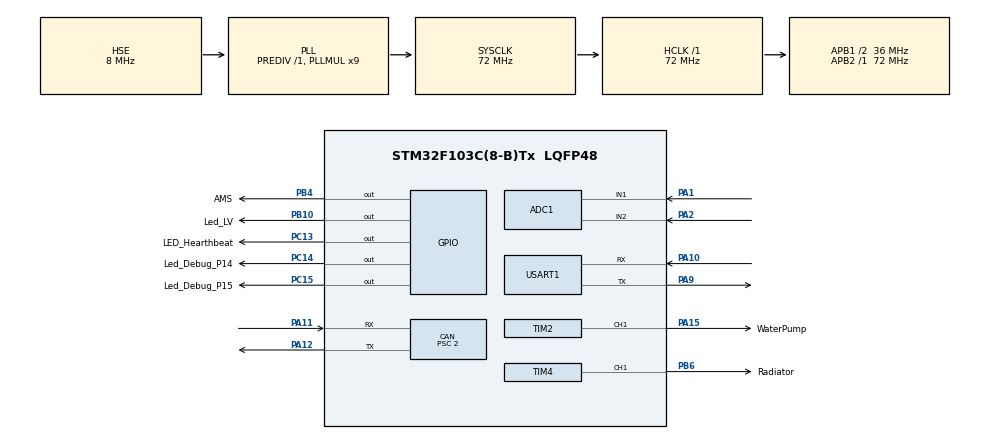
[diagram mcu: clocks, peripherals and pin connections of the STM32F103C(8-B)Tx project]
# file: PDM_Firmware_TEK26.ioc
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ADC1.Channel-0\#ChannelRegularConversion=ADC_CHANNEL_1
ADC1.Channel-1\#ChannelRegularConversion=ADC_CHANNEL_2
ADC1.NbrOfConversion=2
ADC1.NbrOfConversionFlag=1
ADC1.Rank-0\#ChannelRegularConversion=1
ADC1.Rank-1\#ChannelRegularConversion=2
ADC1.SamplingTime-0\#ChannelRegularConversion=ADC_SAMPLETIME_239CYCLES_5
ADC1.SamplingTime-1\#ChannelRegularConversion=ADC_SAMPLETIME_239CYCLES_5
ADC1.master=1
CAN.BS1=CAN_BS1_16TQ
CAN.CalculateBaudRate=1000000
CAN.CalculateTimeBit=1000
CAN.CalculateTimeQuantum=55.55555555555556
CAN.NART=ENABLE
CAN.Prescaler=2
Dma.ADC1.0.Direction=DMA_PERIPH_TO_MEMORY
Dma.ADC1.0.Instance=DMA1_Channel1
Dma.ADC1.0.MemDataAlignment=DMA_MDATAALIGN_HALFWORD
Dma.ADC1.0.MemInc=DMA_MINC_ENABLE
Dma.ADC1.0.Mode=DMA_NORMAL
Dma.ADC1.0.PeriphDataAlignment=DMA_PDATAALIGN_HALFWORD
Dma.ADC1.0.PeriphInc=DMA_PINC_DISABLE
Dma.ADC1.0.Priority=DMA_PRIORITY_LOW
Dma.Request0=ADC1
Mcu.Family=STM32F1
Mcu.Name=STM32F103C(8-B)Tx
Mcu.Package=LQFP48
NVIC.ADC1_2_IRQn=true\:0\:0\:false\:false\:true\:true\:true\:true
NVIC.CAN1_RX1_IRQn=true\:0\:0\:false\:false\:true\:true\:true\:true
NVIC.DMA1_Channel1_IRQn=true\:0\:0\:false\:false\:true\:false\:true\:true
NVIC.PriorityGroup=NVIC_PRIORITYGROUP_4
NVIC.TIM3_IRQn=true\:0\:0\:false\:false\:true\:true\:true\:true
NVIC.USB_LP_CAN1_RX0_IRQn=true\:0\:0\:false\:false\:true\:true\:true\:true
PA1.Signal=ADCx_IN1
PA10.Mode=Asynchronous
PA10.Signal=USART1_RX
PA11.Mode=CAN_Activate
PA11.Signal=CAN_RX
PA12.Mode=CAN_Activate
PA12.Signal=CAN_TX
PA13.Mode=Serial_Wire
PA13.Signal=SYS_JTMS-SWDIO
PA14.Mode=Serial_Wire
PA14.Signal=SYS_JTCK-SWCLK
PA15.GPIO_Label=WaterPump
PA15.Signal=S_TIM2_CH1_ETR
PA2.Signal=ADCx_IN2
PA9.Mode=Asynchronous
PA9.Signal=USART1_TX
PB10.GPIO_Label=Led_LV
PB10.Signal=GPIO_Output
PB4.GPIO_Label=AMS
PB4.PinState=GPIO_PIN_SET
PB4.Signal=GPIO_Output
PB6.GPIO_Label=Radiator
PB6.Signal=S_TIM4_CH1
PC13-TAMPER-RTC.GPIO_Label=LED_Hearthbeat
PC13-TAMPER-RTC.Signal=GPIO_Output
PC14-OSC32_IN.GPIO_Label=Led_Debug_P14
PC14-OSC32_IN.Signal=GPIO_Output
PC15-OSC32_OUT.GPIO_Label=Led_Debug_P15
PC15-OSC32_OUT.Signal=GPIO_Output
PD0-OSC_IN.Mode=HSE-External-Oscillator
PD0-OSC_IN.Signal=RCC_OSC_IN
PD1-OSC_OUT.Mode=HSE-External-Oscillator
PD1-OSC_OUT.Signal=RCC_OSC_OUT
ProjectManager.HeapSize=0x200
ProjectManager.StackSize=0x400
ProjectManager.TargetToolchain=STM32CubeIDE
RCC.ADCPresc=RCC_ADCPCLK2_DIV6
RCC.AHBFreq_Value=72000000
RCC.APB1CLKDivider=RCC_HCLK_DIV2
RCC.APB1Freq_Value=36000000
RCC.APB1TimFreq_Value=72000000
RCC.APB2Freq_Value=72000000
RCC.APB2TimFreq_Value=72000000
RCC.HCLKFreq_Value=72000000
RCC.PLLMUL=RCC_PLL_MUL9
RCC.PLLSourceVirtual=RCC_PLLSOURCE_HSE
RCC.SYSCLKFreq_VALUE=72000000
RCC.SYSCLKSource=RCC_SYSCLKSOURCE_PLLCLK
RCC.USBFreq_Value=72000000
SH.ADCx_IN1.0=ADC1_IN1,IN1
SH.ADCx_IN2.0=ADC1_IN2,IN2
SH.S_TIM2_CH1_ETR.0=TIM2_CH1,PWM Generation1 CH1
SH.S_TIM4_CH1.0=TIM4_CH1,PWM Generation1 CH1
TIM2.Channel-PWM\ Generation1\ CH1=TIM_CHANNEL_1
TIM2.Period=999
TIM2.Prescaler=71
TIM3.Period=7200
TIM3.Prescaler=1000
TIM4.Channel-PWM\ Generation1\ CH1=TIM_CHANNEL_1
TIM4.Period=999
TIM4.Prescaler=71
USART1.VirtualMode=VM_ASYNC
VP_TIM2_VS_ClockSourceINT.Mode=Internal
VP_TIM3_VS_ClockSourceINT.Mode=Internal
VP_TIM4_VS_ClockSourceINT.Mode=Internal
board=custom

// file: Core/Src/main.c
/* USER CODE BEGIN Header */
/**
 ******************************************************************************
 * @file           : main.c
 * @brief          : Main program body
 ******************************************************************************
 * @attention
 *
 * Copyright (c) 2026 STMicroelectronics.
 * All rights reserved.
 *
 * This software is licensed under terms that can be found in the LICENSE file
 * in the root directory of this software component.
 * If no LICENSE file comes with this software, it is provided AS-IS.
 *
 ******************************************************************************
 */
/* USER CODE END Header */
#include "main.h"

/* USER CODE BEGIN Includes */
#include "string.h"
#include "stdio.h"
#include "stdlib.h"

#include "../DBC/data_t26.h"
/* USER CODE END Includes */

/* USER CODE BEGIN PTD */

/* Snapshot de todo o estado útil para debug - ver como Live Expression
 (adiciona só "dbg" e expande). Atualizado a cada iteração do loop. */
typedef struct {
	/* PWM aplicado (0-100%) */
	uint8_t fan_pwm;
	uint8_t pump_pwm;
	uint8_t cooling_active;

	/* Temperaturas dos inversores (°C) */
	float inv1_inverter_temp_c;
	float inv1_motor_temp_c;
	float inv2_inverter_temp_c;
	float inv2_motor_temp_c;
	uint32_t temps_age_ms;      // há quanto tempo não chega frame de temperatura

	/* LV battery / corrente */
	float adc_voltage_v;          // tensão lida pelo ADC no pino do MCU (PA1)
	float adc_battery_voltage_v;  // tensão teórica da bateria estimada pelo ADC
	float isa_can_voltage_v;      // tensão REAL da bateria lida via CAN (ISA IDC)
	uint16_t adc_voltage_raw;     // valor bruto do ADC (PA1)
	float current_v;
	uint16_t current_raw;

	/* Estado do bus CAN */
	HAL_CAN_StateTypeDef can_state;
	uint32_t can_error_code;
	uint32_t can_rx_count;
	uint32_t can_tx_ok_count;
	uint32_t can_tx_fail_count;
	uint32_t can_last_rx_id;
	uint32_t can_rx_age_ms;     // há quanto tempo não chega frame nenhum
	uint32_t temp_frames_rejeitados;   // frames de temperatura descartados (implausíveis)

	uint32_t uptime_ms;
} debug_view_t;

/* USER CODE END PTD */

/* USER CODE BEGIN PD */
#define BUFFER_SIZE 10
#define VREF_MV     3300   // STM32 reference voltage in mV

/* --- Divisor da LV battery ---
   24V --470k-- nó --100k-- GND -> buffer (segue o nó) -> 1k -- pino MCU -- 2k -- GND
   Teórico: Vmcu = Vbat * (100/570) * (2/3) = Vbat / 8.55
   Calibrado na bancada: Vbat real 26.6V com Vmcu 3.233V -> 26.6/3.233 = 8.227
   (desvio vs teórico ~4%, tolerância das resistências) */
#define LV_DIVIDER_RATIO    8.227f

/* Limiares do LED LV em tensão real da bateria:
   >= 26V -> estático ligado | 25-26V -> pisca lento | 22-25V -> pisca rápido | < 22V -> desligado */
#define LV_VOLT_HIGH_V        26.0f
#define LV_VOLT_MID_V         25.0f
#define LV_VOLT_LOW_V         22.0f
#define LV_BLINK_SLOW_TICKS   10     // toggle a cada 10 ticks TIM3 (~1s)
#define LV_BLINK_FAST_TICKS   4      // toggle a cada 2 ticks TIM3 (~200ms)

/* --- Cooling control --- */
#define COOLING_TEMP_MIN_C     40.0f   // Below this -> 0% PWM
#define COOLING_TEMP_MAX_C     65.0f   // At or above this -> 100% PWM
#define COOLING_HYSTERESIS_C   5.0f    // Só desliga abaixo de (MIN - isto)
#define COOLING_PWM_DEADBAND   3       // Só reaplica PWM se mudar >= isto (%)
#define COOLING_TABLE_SIZE     3

/* --- Periodic CAN TX --- */
#define TIM3_TICK_MS           100     // TIM3 interrupt period (72MHz/1001/7201 ~ 100ms)
#define CAN_TX_PERIOD_MS       1000    // All periodic messages sent every 1 second
#define CAN_TX_PERIOD_TICKS    (CAN_TX_PERIOD_MS / TIM3_TICK_MS)
/* USER CODE END PD */

ADC_HandleTypeDef hadc1;
DMA_HandleTypeDef hdma_adc1;

CAN_HandleTypeDef hcan;

TIM_HandleTypeDef htim2;
TIM_HandleTypeDef htim3;
TIM_HandleTypeDef htim4;

UART_HandleTypeDef huart1;

/* USER CODE BEGIN PV */

/* CAN */
CAN_TxHeaderTypeDef TxHeader; //TX
uint8_t TxData[8];            //TX
uint32_t TxMailbox;           //TX
CAN_RxHeaderTypeDef RxHeader; //RX
uint8_t RxData[8];            //RX

/* Variáveis Globais ADC e Controlo */
volatile uint16_t adc_dma_raw[2] = { 0 };
volatile uint8_t adc_dma_ready = 0;

uint16_t voltage_buffer[BUFFER_SIZE] = { 0 };
uint32_t voltage_sum = 0;
uint8_t voltage_idx = 0;

uint16_t current_buffer[BUFFER_SIZE] = { 0 };
uint32_t current_sum = 0;
uint8_t current_idx = 0;

uint16_t raw_voltage = 0;
uint16_t raw_current = 0;

float adc_voltage_v = 0.0f;           // PA1 em Volts  ex: 3.009 (apenas para debug)
float adc_battery_voltage_v = 0.0f;   // Tensão bateria pelo ADC (adc_voltage_v * LV_DIVIDER_RATIO)
float isa_can_voltage_v = 0.0f;       // Tensão REAL da bateria recebida por CAN do ISA IDC
float current_v = 0.0f;   // PA2 em Volts  ex: 3.530
uint16_t current_frac = 0;

/* Contadores do Timer (Sincronização) */
uint16_t adc_counter = 0;
uint8_t data_trigger = 0;
uint16_t lv_counter = 0;
uint16_t heartbeat_counter = 0;

/* Estatísticas CAN (para debug_view_t) */
volatile uint32_t can_rx_count = 0;
volatile uint32_t can_tx_ok_count = 0;
volatile uint32_t can_tx_fail_count = 0;
volatile uint32_t can_last_rx_id = 0;
volatile uint32_t temp_frames_rejeitados = 0;   // frames de temperatura com valores implausíveis
volatile uint32_t last_rx_tick_ms = 0;
volatile uint32_t last_temps_tick_ms = 0;

/* Snapshot único para Live Expressions - ver debug_view_t */
volatile debug_view_t dbg;

/* USER CODE END PV */

void SystemClock_Config(void);
static void MX_GPIO_Init(void);
static void MX_DMA_Init(void);
static void MX_CAN_Init(void);
static void MX_USART1_UART_Init(void);
static void MX_ADC1_Init(void);
static void MX_TIM3_Init(void);
static void MX_TIM2_Init(void);
static void MX_TIM4_Init(void);
/* USER CODE BEGIN PFP */

void StartADC1(void);
void MeasureVoltageADC(uint16_t raw_voltage);
void Update_LV_LED(void);
void MeasureCurrent(uint16_t adc_value);
void SendData(void);
void HeartbeatTask(void);
void CAN_ProcessRx(void);
void Cooling_Update(void);
void PDM_SendPeriodic(void);
void Debug_Update(void);

/* USER CODE END PFP */

/* USER CODE BEGIN 0 */

/* Tabela de arrefecimento: temperatura -> PWM (%). Interpolação linear entre pontos. */
typedef struct {
	float temp_c;
	uint8_t pump_pwm;
	uint8_t fan_pwm;
} cooling_point_t;

static const cooling_point_t cooling_table[COOLING_TABLE_SIZE] = {
/* temp   pump  fan  */
{ 40.0f, 40, 30 }, // Arranca logo a 40% (bomba) e 30% (ventoinha) para evitar stall
{ 55.0f, 80, 70 }, // Ponto intermédio
{ 65.0f, 100, 100 } // Máximo
};

/* Últimas temperaturas recebidas dos inversores (ºC) */
float inv1_temp_inverter_c = 0.0f;
float inv1_temp_motor_c = 0.0f;
float inv2_temp_inverter_c = 0.0f;
float inv2_temp_motor_c = 0.0f;
volatile uint8_t inv_temps_updated = 0;

float ams_overall_max_temp_c = 0.0f;
volatile uint8_t ams_temps_updated = 0;
uint8_t ams_cooling_active = 0;

/* PWM atualmente aplicado (também vai no CAN PDM_Cooling) */
uint8_t pump_pwm_now = 100;
uint8_t fan_pwm_now = 100;
uint8_t cooling_active = 0;   // estado da histerese (ver Cooling_Update)

uint16_t pdm_tx_counter = 0;   // incrementado pelo TIM3, dispara TX a 1s

/* EUSART */
int __io_putchar(int ch) {
	HAL_UART_Transmit(&huart1, (uint8_t*) &ch, 1, HAL_MAX_DELAY);
	return ch;
}

void Radiator_SetPWM(uint8_t percentagem)   // 0..100 (100 = potência máxima)
{
	if (percentagem > 100)
		percentagem = 100;
	/* Hardware ativo-baixo: duty invertido (100% pedido -> CCR 0) */
	__HAL_TIM_SET_COMPARE(&htim4, TIM_CHANNEL_1, (uint32_t )(100 - percentagem) * 10);
}

void WaterPump_SetPWM(uint8_t percentagem)  // 0..100 (100 = potência máxima)
{
	if (percentagem > 100)
		percentagem = 100;
	/* Hardware ativo-baixo: duty invertido (100% pedido -> CCR 0) */
	__HAL_TIM_SET_COMPARE(&htim2, TIM_CHANNEL_1, (uint32_t )(100 - percentagem) * 10);
}

/* Neste ambiente as temperaturas nunca são negativas: valores fora de
   [0, TEMP_MAX_PLAUSIVEL_C] são lixo e o frame inteiro é descartado. */
#define TEMP_MAX_PLAUSIVEL_C  150.0f
static uint8_t TempValida(float t) {
	return (t >= 0.0f && t <= TEMP_MAX_PLAUSIVEL_C);
}

/* Buffers crus preenchidos pela ISR. O unpack/decode/validação acontece
   no loop principal (CAN_ProcessRx) para manter o callback curto. */
static uint8_t inv1_rx_data[8];
static uint8_t inv1_rx_dlc = 0;
static volatile uint8_t inv1_rx_pending = 0;

static uint8_t inv2_rx_data[8];
static uint8_t inv2_rx_dlc = 0;
static volatile uint8_t inv2_rx_pending = 0;

static uint8_t icd_rx_data[8];
static uint8_t icd_rx_dlc = 0;
static volatile uint8_t icd_rx_pending = 0;

static uint8_t bms_rx_data[8];
static uint8_t bms_rx_dlc = 0;
static volatile uint8_t bms_rx_pending = 0;

/* CAN RX */
void HAL_CAN_RxFifo0MsgPendingCallback(CAN_HandleTypeDef *hcan) {
	if (HAL_CAN_GetRxMessage(hcan, CAN_RX_FIFO0, &RxHeader, RxData) != HAL_OK)
		return;

	/* Todos os IDs deste projeto são standard de 11 bits. Frames extended
	 são tráfego alheio - ignorar antes do switch (ver decode do VCU). */
	if (RxHeader.IDE == CAN_ID_EXT)
		return;

	can_rx_count++;
	can_last_rx_id = RxHeader.StdId;
	last_rx_tick_ms = HAL_GetTick();

	switch (RxHeader.StdId) {

	/* ---- Temperaturas INV1 (0x444) ---- */
	case DATA_T26_VCU_INV1_TEMPERATURES_FRAME_ID:
		memcpy(inv1_rx_data, RxData, 8);
		inv1_rx_dlc = RxHeader.DLC;
		inv1_rx_pending = 1;
		break;

	/* ---- Temperaturas INV2 (0x445) ---- */
	case DATA_T26_VCU_INV2_TEMPERATURES_FRAME_ID:
		memcpy(inv2_rx_data, RxData, 8);
		inv2_rx_dlc = RxHeader.DLC;
		inv2_rx_pending = 1;
		break;

	/* ---- ICD Result (0x502) ---- */
	case DATA_T26_ICD_RESULT_FRAME_ID:
		memcpy(icd_rx_data, RxData, 8);
		icd_rx_dlc = RxHeader.DLC;
		icd_rx_pending = 1;
		break;

	/* ---- BMS Master_MSC_ID_3 (0x750) ---- */
	case DATA_T26_MASTER_MSC_ID_3_FRAME_ID:
		memcpy(bms_rx_data, RxData, 8);
		bms_rx_dlc = RxHeader.DLC;
		bms_rx_pending = 1;
		break;

	default:
		break;
	}
}

/* Callback do Timer 3 para incrementar os contadores sem bloquear o código */
void HAL_TIM_PeriodElapsedCallback(TIM_HandleTypeDef *htim) {
	if (htim->Instance == TIM3) {
		adc_counter++;
		data_trigger++;
		lv_counter++;
		heartbeat_counter++;
		pdm_tx_counter++;
	}
}

// Called automatically by HAL when DMA finishes transferring both channels
void HAL_ADC_ConvCpltCallback(ADC_HandleTypeDef *hadc) {
	if (hadc->Instance == ADC1) {
		adc_dma_ready = 1;   // Signal the main loop
	}
}

/* USER CODE END 0 */

int main(void) {

	/* MCU Configuration--------------------------------------------------------*/

	/* Reset of all peripherals, Initializes the Flash interface and the Systick. */
	HAL_Init();

	/* Configure the system clock */
	SystemClock_Config();

	/* Initialize all configured peripherals */
	MX_GPIO_Init();
	MX_DMA_Init();
	MX_CAN_Init();
	MX_USART1_UART_Init();
	MX_ADC1_Init();
	MX_TIM3_Init();
	MX_TIM2_Init();
	MX_TIM4_Init();
	/* USER CODE BEGIN 2 */

	/* Iniciar Timer 3 com Interrupções para os Contadores */
	if (HAL_TIM_Base_Start_IT(&htim3) != HAL_OK) {
		Error_Handler();
	}

	/* Iniciar geração de PWM (bomba de água e ventoinha) - sem isto o CCR
	   é atualizado mas nunca chega ao pino */
	if (HAL_TIM_PWM_Start(&htim2, TIM_CHANNEL_1) != HAL_OK) {
		Error_Handler();
	}
	if (HAL_TIM_PWM_Start(&htim4, TIM_CHANNEL_1) != HAL_OK) {
		Error_Handler();
	}

	/* Hardware ativo-baixo: CCR arranca a 0 = 100% de potência. Forçar 0%
	   já, antes de chegar o primeiro frame de temperaturas. */
	Radiator_SetPWM(100);
	WaterPump_SetPWM(100);

	/* CAN */
	HAL_CAN_Start(&hcan);
	TxHeader.StdId = 0x123; // ID
	TxHeader.ExtId = 0x00;
	TxHeader.IDE = CAN_ID_STD;
	TxHeader.RTR = CAN_RTR_DATA;
	TxHeader.DLC = 3;
	TxHeader.TransmitGlobalTime = DISABLE;

	HAL_CAN_ActivateNotification(&hcan, CAN_IT_RX_FIFO0_MSG_PENDING);

	// EUSART Initial Message
	char *test_msg = "USART OK\r\n";
	HAL_UART_Transmit(&huart1, (uint8_t*) test_msg, strlen(test_msg), 100);

	// Start IO OFF
	HAL_GPIO_WritePin(GPIOB, Radiator_Pin, GPIO_PIN_SET); // Invert Logic 1 -> 0
	HAL_GPIO_WritePin(GPIOB, AMS_Pin, GPIO_PIN_RESET); // Começa em estado de erro (Nível BAIXO = ventoinhas ON)
	HAL_GPIO_WritePin(GPIOA, WaterPump_Pin, GPIO_PIN_SET);

	/* Inicializar o LED LV desligado */
	HAL_GPIO_WritePin(Led_LV_GPIO_Port, Led_LV_Pin, GPIO_PIN_RESET);

	/* USER CODE END 2 */

	/* Infinite loop */
	/* USER CODE BEGIN WHILE */
	while (1) {

		StartADC1();                  // Executa a leitura do ADC periodicamente
		//Update_LV_LED();  // Avalia tensão e atualiza LED LV
		//MeasureCurrent(raw_current);  // Calcula e processa a corrente
		//SendData();                   // Envia dados UART e CAN
		HeartbeatTask();              // Pisca o LED Heartbeat de forma não bloqueante

		CAN_ProcessRx();      // descodifica frames de temperatura fora da ISR
		Cooling_Update();     // interpola tabela e aplica PWM
		PDM_SendPeriodic();   // envia 0x210 e 0x220 a cada 1s
		Debug_Update();       // atualiza snapshot "dbg" para Live Expressions

		/* USER CODE END WHILE */

	}
}

void SystemClock_Config(void) {
	RCC_OscInitTypeDef RCC_OscInitStruct = { 0 };
	RCC_ClkInitTypeDef RCC_ClkInitStruct = { 0 };
	RCC_PeriphCLKInitTypeDef PeriphClkInit = { 0 };

	/** Initializes the RCC Oscillators according to the specified parameters
	 * in the RCC_OscInitTypeDef structure.
	 */
	RCC_OscInitStruct.OscillatorType = RCC_OSCILLATORTYPE_HSE;
	RCC_OscInitStruct.HSEState = RCC_HSE_ON;
	RCC_OscInitStruct.HSEPredivValue = RCC_HSE_PREDIV_DIV1;
	RCC_OscInitStruct.HSIState = RCC_HSI_ON;
	RCC_OscInitStruct.PLL.PLLState = RCC_PLL_ON;
	RCC_OscInitStruct.PLL.PLLSource = RCC_PLLSOURCE_HSE;
	RCC_OscInitStruct.PLL.PLLMUL = RCC_PLL_MUL9;
	if (HAL_RCC_OscConfig(&RCC_OscInitStruct) != HAL_OK) {
		Error_Handler();
	}

	/** Initializes the CPU, AHB and APB buses clocks
	 */
	RCC_ClkInitStruct.ClockType = RCC_CLOCKTYPE_HCLK | RCC_CLOCKTYPE_SYSCLK | RCC_CLOCKTYPE_PCLK1 | RCC_CLOCKTYPE_PCLK2;
	RCC_ClkInitStruct.SYSCLKSource = RCC_SYSCLKSOURCE_PLLCLK;
	RCC_ClkInitStruct.AHBCLKDivider = RCC_SYSCLK_DIV1;
	RCC_ClkInitStruct.APB1CLKDivider = RCC_HCLK_DIV2;
	RCC_ClkInitStruct.APB2CLKDivider = RCC_HCLK_DIV1;

	if (HAL_RCC_ClockConfig(&RCC_ClkInitStruct, FLASH_LATENCY_2) != HAL_OK) {
		Error_Handler();
	}
	PeriphClkInit.PeriphClockSelection = RCC_PERIPHCLK_ADC;
	PeriphClkInit.AdcClockSelection = RCC_ADCPCLK2_DIV6;
	if (HAL_RCCEx_PeriphCLKConfig(&PeriphClkInit) != HAL_OK) {
		Error_Handler();
	}
}

static void MX_ADC1_Init(void) {

	ADC_ChannelConfTypeDef sConfig = { 0 };

	/** Common config
	 */
	hadc1.Instance = ADC1;
	hadc1.Init.ScanConvMode = ADC_SCAN_ENABLE;
	hadc1.Init.ContinuousConvMode = DISABLE;
	hadc1.Init.DiscontinuousConvMode = DISABLE;
	hadc1.Init.ExternalTrigConv = ADC_SOFTWARE_START;
	hadc1.Init.DataAlign = ADC_DATAALIGN_RIGHT;
	hadc1.Init.NbrOfConversion = 2;
	if (HAL_ADC_Init(&hadc1) != HAL_OK) {
		Error_Handler();
	}

	/** Configure Regular Channel
	 */
	sConfig.Channel = ADC_CHANNEL_1;
	sConfig.Rank = ADC_REGULAR_RANK_1;
	sConfig.SamplingTime = ADC_SAMPLETIME_239CYCLES_5;
	if (HAL_ADC_ConfigChannel(&hadc1, &sConfig) != HAL_OK) {
		Error_Handler();
	}

	/** Configure Regular Channel
	 */
	sConfig.Channel = ADC_CHANNEL_2;
	sConfig.Rank = ADC_REGULAR_RANK_2;
	if (HAL_ADC_ConfigChannel(&hadc1, &sConfig) != HAL_OK) {
		Error_Handler();
	}
	/* USER CODE BEGIN ADC1_Init 2 */
	// Configurar o DMA handle manualmente (CubeMX não gerou isto)
	hdma_adc1.Instance = DMA1_Channel1;  // ADC1 usa sempre DMA1 Ch1
	hdma_adc1.Init.Direction = DMA_PERIPH_TO_MEMORY;
	hdma_adc1.Init.PeriphInc = DMA_PINC_DISABLE;
	hdma_adc1.Init.MemInc = DMA_MINC_ENABLE;   // Avança no array destino
	hdma_adc1.Init.PeriphDataAlignment = DMA_PDATAALIGN_HALFWORD;  // 16-bit ADC
	hdma_adc1.Init.MemDataAlignment = DMA_MDATAALIGN_HALFWORD;  // 16-bit destino
	hdma_adc1.Init.Mode = DMA_NORMAL;
	hdma_adc1.Init.Priority = DMA_PRIORITY_HIGH;

	if (HAL_DMA_Init(&hdma_adc1) != HAL_OK) {
		Error_Handler();
	}

	__HAL_LINKDMA(&hadc1, DMA_Handle, hdma_adc1);
	/* USER CODE END ADC1_Init 2 */

}

static void MX_CAN_Init(void) {

	hcan.Instance = CAN1;
	hcan.Init.Prescaler = 2;
	hcan.Init.Mode = CAN_MODE_NORMAL;
	hcan.Init.SyncJumpWidth = CAN_SJW_1TQ;
	hcan.Init.TimeSeg1 = CAN_BS1_16TQ;
	hcan.Init.TimeSeg2 = CAN_BS2_1TQ;
	hcan.Init.TimeTriggeredMode = DISABLE;
	hcan.Init.AutoBusOff = DISABLE;
	hcan.Init.AutoWakeUp = DISABLE;
	hcan.Init.AutoRetransmission = ENABLE;
	hcan.Init.ReceiveFifoLocked = DISABLE;
	hcan.Init.TransmitFifoPriority = DISABLE;
	if (HAL_CAN_Init(&hcan) != HAL_OK) {
		Error_Handler();
	}
	/* USER CODE BEGIN CAN_Init 2 */

	CAN_FilterTypeDef canfilter;

	/* Aceita todas as mensagens - a filtragem é feita por software no callback */
	canfilter.FilterBank = 0;
	canfilter.FilterMode = CAN_FILTERMODE_IDMASK;
	canfilter.FilterScale = CAN_FILTERSCALE_32BIT;
	canfilter.FilterIdHigh = 0x0000;
	canfilter.FilterIdLow = 0x0000;
	canfilter.FilterMaskIdHigh = 0x0000;   // máscara 0 -> aceita tudo
	canfilter.FilterMaskIdLow = 0x0000;
	canfilter.FilterFIFOAssignment = CAN_RX_FIFO0;
	canfilter.FilterActivation = ENABLE;

	HAL_CAN_ConfigFilter(&hcan, &canfilter);

	/* USER CODE END CAN_Init 2 */

}

static void MX_TIM2_Init(void) {

	TIM_ClockConfigTypeDef sClockSourceConfig = { 0 };
	TIM_MasterConfigTypeDef sMasterConfig = { 0 };
	TIM_OC_InitTypeDef sConfigOC = { 0 };

	htim2.Instance = TIM2;
	htim2.Init.Prescaler = 71;
	htim2.Init.CounterMode = TIM_COUNTERMODE_UP;
	htim2.Init.Period = 999;
	htim2.Init.ClockDivision = TIM_CLOCKDIVISION_DIV1;
	htim2.Init.AutoReloadPreload = TIM_AUTORELOAD_PRELOAD_DISABLE;
	if (HAL_TIM_Base_Init(&htim2) != HAL_OK) {
		Error_Handler();
	}
	sClockSourceConfig.ClockSource = TIM_CLOCKSOURCE_INTERNAL;
	if (HAL_TIM_ConfigClockSource(&htim2, &sClockSourceConfig) != HAL_OK) {
		Error_Handler();
	}
	if (HAL_TIM_PWM_Init(&htim2) != HAL_OK) {
		Error_Handler();
	}
	sMasterConfig.MasterOutputTrigger = TIM_TRGO_RESET;
	sMasterConfig.MasterSlaveMode = TIM_MASTERSLAVEMODE_DISABLE;
	if (HAL_TIMEx_MasterConfigSynchronization(&htim2, &sMasterConfig) != HAL_OK) {
		Error_Handler();
	}
	sConfigOC.OCMode = TIM_OCMODE_PWM1;
	sConfigOC.Pulse = 0;
	sConfigOC.OCPolarity = TIM_OCPOLARITY_HIGH;
	sConfigOC.OCFastMode = TIM_OCFAST_DISABLE;
	if (HAL_TIM_PWM_ConfigChannel(&htim2, &sConfigOC, TIM_CHANNEL_1) != HAL_OK) {
		Error_Handler();
	}
	HAL_TIM_MspPostInit(&htim2);

}

static void MX_TIM3_Init(void) {

	TIM_ClockConfigTypeDef sClockSourceConfig = { 0 };
	TIM_MasterConfigTypeDef sMasterConfig = { 0 };

	htim3.Instance = TIM3;
	htim3.Init.Prescaler = 1000;
	htim3.Init.CounterMode = TIM_COUNTERMODE_UP;
	htim3.Init.Period = 7200;
	htim3.Init.ClockDivision = TIM_CLOCKDIVISION_DIV1;
	htim3.Init.AutoReloadPreload = TIM_AUTORELOAD_PRELOAD_DISABLE;
	if (HAL_TIM_Base_Init(&htim3) != HAL_OK) {
		Error_Handler();
	}
	sClockSourceConfig.ClockSource = TIM_CLOCKSOURCE_INTERNAL;
	if (HAL_TIM_ConfigClockSource(&htim3, &sClockSourceConfig) != HAL_OK) {
		Error_Handler();
	}
	sMasterConfig.MasterOutputTrigger = TIM_TRGO_RESET;
	sMasterConfig.MasterSlaveMode = TIM_MASTERSLAVEMODE_DISABLE;
	if (HAL_TIMEx_MasterConfigSynchronization(&htim3, &sMasterConfig) != HAL_OK) {
		Error_Handler();
	}

}

static void MX_TIM4_Init(void) {

	TIM_ClockConfigTypeDef sClockSourceConfig = { 0 };
	TIM_MasterConfigTypeDef sMasterConfig = { 0 };
	TIM_OC_InitTypeDef sConfigOC = { 0 };

	htim4.Instance = TIM4;
	htim4.Init.Prescaler = 71;
	htim4.Init.CounterMode = TIM_COUNTERMODE_UP;
	htim4.Init.Period = 999;
	htim4.Init.ClockDivision = TIM_CLOCKDIVISION_DIV1;
	htim4.Init.AutoReloadPreload = TIM_AUTORELOAD_PRELOAD_DISABLE;
	if (HAL_TIM_Base_Init(&htim4) != HAL_OK) {
		Error_Handler();
	}
	sClockSourceConfig.ClockSource = TIM_CLOCKSOURCE_INTERNAL;
	if (HAL_TIM_ConfigClockSource(&htim4, &sClockSourceConfig) != HAL_OK) {
		Error_Handler();
	}
	if (HAL_TIM_PWM_Init(&htim4) != HAL_OK) {
		Error_Handler();
	}
	sMasterConfig.MasterOutputTrigger = TIM_TRGO_RESET;
	sMasterConfig.MasterSlaveMode = TIM_MASTERSLAVEMODE_DISABLE;
	if (HAL_TIMEx_MasterConfigSynchronization(&htim4, &sMasterConfig) != HAL_OK) {
		Error_Handler();
	}
	sConfigOC.OCMode = TIM_OCMODE_PWM1;
	sConfigOC.Pulse = 0;
	sConfigOC.OCPolarity = TIM_OCPOLARITY_HIGH;
	sConfigOC.OCFastMode = TIM_OCFAST_DISABLE;
	if (HAL_TIM_PWM_ConfigChannel(&htim4, &sConfigOC, TIM_CHANNEL_1) != HAL_OK) {
		Error_Handler();
	}
	HAL_TIM_MspPostInit(&htim4);

}

static void MX_USART1_UART_Init(void) {

	huart1.Instance = USART1;
	huart1.Init.BaudRate = 115200;
	huart1.Init.WordLength = UART_WORDLENGTH_8B;
	huart1.Init.StopBits = UART_STOPBITS_1;
	huart1.Init.Parity = UART_PARITY_NONE;
	huart1.Init.Mode = UART_MODE_TX_RX;
	huart1.Init.HwFlowCtl = UART_HWCONTROL_NONE;
	huart1.Init.OverSampling = UART_OVERSAMPLING_16;
	if (HAL_UART_Init(&huart1) != HAL_OK) {
		Error_Handler();
	}

}

static void MX_DMA_Init(void) {

	/* DMA controller clock enable */
	__HAL_RCC_DMA1_CLK_ENABLE();

	/* DMA interrupt init */
	/* DMA1_Channel1_IRQn interrupt configuration */
	HAL_NVIC_SetPriority(DMA1_Channel1_IRQn, 0, 0);
	HAL_NVIC_EnableIRQ(DMA1_Channel1_IRQn);

}

static void MX_GPIO_Init(void) {
	GPIO_InitTypeDef GPIO_InitStruct = { 0 };

	/* GPIO Ports Clock Enable */
	__HAL_RCC_GPIOC_CLK_ENABLE();
	__HAL_RCC_GPIOD_CLK_ENABLE();
	__HAL_RCC_GPIOA_CLK_ENABLE();
	__HAL_RCC_GPIOB_CLK_ENABLE();

	/*Configure GPIO pin Output Level */
	HAL_GPIO_WritePin(GPIOC, LED_Hearthbeat_Pin | Led_Debug_P14_Pin | Led_Debug_P15_Pin, GPIO_PIN_RESET);

	/*Configure GPIO pin Output Level */
	HAL_GPIO_WritePin(Led_LV_GPIO_Port, Led_LV_Pin, GPIO_PIN_RESET);

	/*Configure GPIO pin Output Level */
	HAL_GPIO_WritePin(AMS_GPIO_Port, AMS_Pin, GPIO_PIN_RESET);

	/*Configure GPIO pins : LED_Hearthbeat_Pin Led_Debug_P14_Pin Led_Debug_P15_Pin */
	GPIO_InitStruct.Pin = LED_Hearthbeat_Pin | Led_Debug_P14_Pin | Led_Debug_P15_Pin;
	GPIO_InitStruct.Mode = GPIO_MODE_OUTPUT_PP;
	GPIO_InitStruct.Pull = GPIO_NOPULL;
	GPIO_InitStruct.Speed = GPIO_SPEED_FREQ_LOW;
	HAL_GPIO_Init(GPIOC, &GPIO_InitStruct);

	/*Configure GPIO pins : Led_LV_Pin AMS_Pin */
	GPIO_InitStruct.Pin = Led_LV_Pin | AMS_Pin;
	GPIO_InitStruct.Mode = GPIO_MODE_OUTPUT_PP;
	GPIO_InitStruct.Pull = GPIO_NOPULL;
	GPIO_InitStruct.Speed = GPIO_SPEED_FREQ_LOW;
	HAL_GPIO_Init(GPIOB, &GPIO_InitStruct);

}

/* USER CODE BEGIN 4 */

/* Devolve o maior valor de 4 floats */
static float MaxOf4(float a, float b, float c, float d) {
	float max = a;
	if (b > max)
		max = b;
	if (c > max)
		max = c;
	if (d > max)
		max = d;
	return max;
}

/* Interpola a tabela de arrefecimento para uma dada temperatura */
void Cooling_LookupPWM(float temp_c, uint8_t *pump_pwm, uint8_t *fan_pwm) {
	/* Abaixo do primeiro ponto */
	if (temp_c <= cooling_table[0].temp_c) {
		*pump_pwm = cooling_table[0].pump_pwm;
		*fan_pwm = cooling_table[0].fan_pwm;
		return;
	}
	/* Acima do último ponto -> 100% */
	if (temp_c >= cooling_table[COOLING_TABLE_SIZE - 1].temp_c) {
		*pump_pwm = cooling_table[COOLING_TABLE_SIZE - 1].pump_pwm;
		*fan_pwm = cooling_table[COOLING_TABLE_SIZE - 1].fan_pwm;
		return;
	}
	/* Encontra o segmento e interpola linearmente */
	for (uint8_t i = 0; i < COOLING_TABLE_SIZE - 1; i++) {
		if (temp_c < cooling_table[i + 1].temp_c) {
			float t0 = cooling_table[i].temp_c;
			float t1 = cooling_table[i + 1].temp_c;
			float frac = (temp_c - t0) / (t1 - t0);   // 0.0 .. 1.0 dentro do segmento

			*pump_pwm = (uint8_t) (cooling_table[i].pump_pwm + frac * (cooling_table[i + 1].pump_pwm - cooling_table[i].pump_pwm));
			*fan_pwm = (uint8_t) (cooling_table[i].fan_pwm + frac * (cooling_table[i + 1].fan_pwm - cooling_table[i].fan_pwm));
			return;
		}
	}
}

/* Descodifica os frames de temperatura fora da ISR. Os bytes são copiados
   com as interrupções desligadas para não apanhar um frame a meio. */
void CAN_ProcessRx(void) {
	uint8_t data[8];
	uint8_t dlc;

	if (inv1_rx_pending) {
		__disable_irq();
		memcpy(data, inv1_rx_data, 8);
		dlc = inv1_rx_dlc;
		inv1_rx_pending = 0;
		__enable_irq();

		struct data_t26_vcu_inv1_temperatures_t m;
		if (data_t26_vcu_inv1_temperatures_unpack(&m, data, dlc) == 0) {
			float ti = data_t26_vcu_inv1_temperatures_inv1_temp_inverter_decode(m.inv1_temp_inverter);
			float tm = data_t26_vcu_inv1_temperatures_inv1_temp_motor_decode(m.inv1_temp_motor);
			if (TempValida(ti) && TempValida(tm)) {
				inv1_temp_inverter_c = ti;
				inv1_temp_motor_c = tm;
				inv_temps_updated = 1;
				last_temps_tick_ms = HAL_GetTick();
			} else {
				temp_frames_rejeitados++;
			}
		}
	}

	if (inv2_rx_pending) {
		__disable_irq();
		memcpy(data, inv2_rx_data, 8);
		dlc = inv2_rx_dlc;
		inv2_rx_pending = 0;
		__enable_irq();

		struct data_t26_vcu_inv2_temperatures_t m;
		if (data_t26_vcu_inv2_temperatures_unpack(&m, data, dlc) == 0) {
			float ti = data_t26_vcu_inv2_temperatures_inv2_temp_inverter_decode(m.inv2_temp_inverter);
			float tm = data_t26_vcu_inv2_temperatures_inv2_temp_motor_decode(m.inv2_temp_motor);
			if (TempValida(ti) && TempValida(tm)) {
				inv2_temp_inverter_c = ti;
				inv2_temp_motor_c = tm;
				inv_temps_updated = 1;
				last_temps_tick_ms = HAL_GetTick();
			} else {
				temp_frames_rejeitados++;
			}
		}
	}

	if (icd_rx_pending) {
		__disable_irq();
		memcpy(data, icd_rx_data, 8);
		dlc = icd_rx_dlc;
		icd_rx_pending = 0;
		__enable_irq();

		struct data_t26_icd_result_t m;
		if (data_t26_icd_result_unpack(&m, data, dlc) == 0) {
			// A tensão ubat do ISA ICD costuma vir em mV, mas o decode devolve double.
			// O PDM assume tensão em Volts.
			isa_can_voltage_v = (float) data_t26_icd_result_icd_ubat_decode(m.icd_ubat);
			// Se o decode for mV, converte para V (verificar escala):
			// Se o decode já estiver em V, remover a divisão.
			// Geralmente os decodes de DBC retornam valores na unidade física final,
			// mas vamos deixar como float e usar diretamente.
			// Se na dbc for V, isa_can_voltage_v está correto.
			// Se na dbc for mV e o decode não aplicar factor, teríamos de dividir por 1000.
			// Vou assumir que o decode() aplica a conversão da DBC e dá Volts (ou mV dependendo).
			// Vou usar em Volts.
		}
	}

	if (bms_rx_pending) {
		__disable_irq();
		memcpy(data, bms_rx_data, 8);
		dlc = bms_rx_dlc;
		bms_rx_pending = 0;
		__enable_irq();

		struct data_t26_master_msc_id_3_t m;
		if (data_t26_master_msc_id_3_unpack(&m, data, dlc) == 0) {
			ams_overall_max_temp_c = (float) data_t26_master_msc_id_3_overall_maximum_temperature_decode(m.overall_maximum_temperature);
			ams_temps_updated = 1;
		}
	}
}

/* Corre no main loop: pega na temperatura mais alta e aplica o PWM */
void Cooling_Update(void) {
	if (!inv_temps_updated && !ams_temps_updated)
		return;

	static uint8_t system_in_error = 1;

	if (inv_temps_updated) {
		inv_temps_updated = 0;

		float max_temp = MaxOf4(inv1_temp_inverter_c, inv1_temp_motor_c, inv2_temp_inverter_c, inv2_temp_motor_c);

		/* Histerese: liga ao atingir COOLING_TEMP_MIN_C, so desliga abaixo de
		 (COOLING_TEMP_MIN_C - COOLING_HYSTERESIS_C) - evita oscilar a volta do limiar */
		if (!cooling_active) {
			if (max_temp >= COOLING_TEMP_MIN_C) {
				cooling_active = 1;
			}
		} else {
			if (max_temp < (COOLING_TEMP_MIN_C - COOLING_HYSTERESIS_C)) {
				cooling_active = 0;
			}
		}

		uint8_t novo_pump = 0;
		uint8_t novo_fan = 0;

		if (cooling_active)
			Cooling_LookupPWM(max_temp, &novo_pump, &novo_fan);

		// TEMPORARIO: Forcar bomba a 40% para sangrar o circuito de agua
		// Descomentar ou alterar aqui conforme necessario.
		//novo_pump = 30;

		/* Zona morta: com ruido no sensor a temperatura oscila alguns decimos e
		   o PWM ficava a tremer. So reaplica se mudar o suficiente, ou se for
		   um extremo (0% / 100%) que tem de ser exato. */
		int delta_pump = (int) novo_pump - (int) pump_pwm_now;
		int delta_fan = (int) novo_fan - (int) fan_pwm_now;
		if (delta_pump < 0)
			delta_pump = -delta_pump;
		if (delta_fan < 0)
			delta_fan = -delta_fan;

		if (delta_pump >= COOLING_PWM_DEADBAND || novo_pump == 0 || novo_pump == 100) {
			pump_pwm_now = novo_pump;
			WaterPump_SetPWM(pump_pwm_now);
		}
		if (delta_fan >= COOLING_PWM_DEADBAND || novo_fan == 0 || novo_fan == 100) {
			fan_pwm_now = novo_fan;
			Radiator_SetPWM(fan_pwm_now);
		}
	}

	/* Histerese AMS: liga a 50C, desliga abaixo de (50 - COOLING_HYSTERESIS_C) */
	if (ams_temps_updated) {
		ams_temps_updated = 0;
		if (!ams_cooling_active) {
			if (ams_overall_max_temp_c >= 50.0f) {
				ams_cooling_active = 1;
			}
		} else {
			if (ams_overall_max_temp_c < (50.0f - COOLING_HYSTERESIS_C)) {
				ams_cooling_active = 0;
			}
		}
	}

	/* Ventoinhas AMS (Bateria) */
	if (ams_cooling_active) {
		HAL_GPIO_WritePin(GPIOB, AMS_Pin, GPIO_PIN_RESET); // ON (Ativo Baixo)
	} else {
		HAL_GPIO_WritePin(GPIOB, AMS_Pin, GPIO_PIN_SET);   // OFF
	}

	if (system_in_error) {
		system_in_error = 0;
	}
}/* Helper genérico de TX (evita repetir o código dos mailboxes) */
static void CAN_Send(uint16_t id, uint8_t *data, uint8_t dlc) {
	TxHeader.StdId = id;
	TxHeader.DLC = dlc;
	if (HAL_CAN_GetTxMailboxesFreeLevel(&hcan) > 0 && HAL_CAN_AddTxMessage(&hcan, &TxHeader, data, &TxMailbox) == HAL_OK) {
		can_tx_ok_count++;
	} else {
		can_tx_fail_count++;
	}
}

/* Preenche o snapshot "dbg" - chamar a cada iteração do loop principal */
void Debug_Update(void) {
	dbg.fan_pwm = fan_pwm_now;
	dbg.pump_pwm = pump_pwm_now;
	dbg.cooling_active = cooling_active;

	dbg.inv1_inverter_temp_c = inv1_temp_inverter_c;
	dbg.inv1_motor_temp_c = inv1_temp_motor_c;
	dbg.inv2_inverter_temp_c = inv2_temp_inverter_c;
	dbg.inv2_motor_temp_c = inv2_temp_motor_c;
	dbg.temps_age_ms = HAL_GetTick() - last_temps_tick_ms;

	dbg.adc_voltage_v = adc_voltage_v;
	dbg.adc_battery_voltage_v = adc_battery_voltage_v;
	dbg.isa_can_voltage_v = isa_can_voltage_v;
	dbg.adc_voltage_raw = raw_voltage;
	dbg.current_v = current_v;
	dbg.current_raw = raw_current;

	dbg.can_state = HAL_CAN_GetState(&hcan);
	dbg.can_error_code = HAL_CAN_GetError(&hcan);
	dbg.can_rx_count = can_rx_count;
	dbg.can_tx_ok_count = can_tx_ok_count;
	dbg.can_tx_fail_count = can_tx_fail_count;
	dbg.can_last_rx_id = can_last_rx_id;
	dbg.can_rx_age_ms = HAL_GetTick() - last_rx_tick_ms;
	dbg.temp_frames_rejeitados = temp_frames_rejeitados;

	dbg.uptime_ms = HAL_GetTick();
}

/* Envia todas as mensagens periódicas (1 segundo) */
void PDM_SendPeriodic(void) {
	if (pdm_tx_counter < CAN_TX_PERIOD_TICKS)
		return;
	pdm_tx_counter = 0;

	uint8_t buf[8];

	/* PDM_LV (0x210) - tensão real da bateria LV (não a tensão no pino do MCU) */
	struct data_t26_pdm_lv_t lv_msg;
	lv_msg.lv_voltage_m_v = data_t26_pdm_lv_lv_voltage_m_v_encode(isa_can_voltage_v); // V -> mV
	data_t26_pdm_lv_pack(buf, &lv_msg, sizeof(buf));
	CAN_Send(DATA_T26_PDM_LV_FRAME_ID, buf, DATA_T26_PDM_LV_LENGTH);

	/* PDM_Cooling (0x220) - PWM atual da bomba e ventoinha */
	struct data_t26_pdm_cooling_t cool_msg;
	cool_msg.water_pump_pwm = pump_pwm_now;
	cool_msg.cooling_fan_pwm = fan_pwm_now;
	data_t26_pdm_cooling_pack(buf, &cool_msg, sizeof(buf));
	CAN_Send(DATA_T26_PDM_COOLING_FRAME_ID, buf, DATA_T26_PDM_COOLING_LENGTH);
}

void StartADC1(void) {
	if (adc_counter >= 1) {
		adc_counter = 0;

		// Verifica se o ADC não está ocupado (bitmask correta para HAL F1)
		uint32_t state = HAL_ADC_GetState(&hadc1);
		if ((state & HAL_ADC_STATE_REG_BUSY) == 0) {
			HAL_ADC_Start_DMA(&hadc1, (uint32_t*) adc_dma_raw, 2);
		}
	}

	if (adc_dma_ready) {
		adc_dma_ready = 0;

		// Moving average Voltage
		voltage_sum -= voltage_buffer[voltage_idx];
		voltage_buffer[voltage_idx] = adc_dma_raw[0];
		voltage_sum += adc_dma_raw[0];
		voltage_idx = (voltage_idx + 1) % BUFFER_SIZE;
		raw_voltage = voltage_sum / BUFFER_SIZE;

		// Moving average PA2
		current_sum -= current_buffer[current_idx];
		current_buffer[current_idx] = adc_dma_raw[1];
		current_sum += adc_dma_raw[1];
		current_idx = (current_idx + 1) % BUFFER_SIZE;
		raw_current = current_sum / BUFFER_SIZE;

		MeasureVoltageADC(raw_voltage);
		Update_LV_LED();
		MeasureCurrent(raw_current);
	}
}

void MeasureVoltageADC(uint16_t adc_value) {
	// Apenas para debug/monitorização, já não é usado no controlo
	adc_voltage_v = (float) adc_value * 3.3f / 4095.0f;
	adc_battery_voltage_v = adc_voltage_v * LV_DIVIDER_RATIO;
}

void Update_LV_LED(void) {
	// A tensão real da bateria (isa_can_voltage_v) agora é atualizada
	// pela mensagem CAN do ISA ICD (ver CAN_ProcessRx).

	static uint8_t lv_state = 0;

	/* --- LÓGICA DE ESTADOS (tensão real da bateria, não a do pino) --- */
	if (isa_can_voltage_v >= LV_VOLT_HIGH_V) {
		// >= 26V -> estático ligado
		lv_state = 3;
	} else if (isa_can_voltage_v >= LV_VOLT_MID_V) {
		// 25-26V -> pisca lento
		lv_state = 2;
	} else if (isa_can_voltage_v >= LV_VOLT_LOW_V) {
		// 22-25V -> pisca rápido
		lv_state = 1;
	} else {
		// < 22V -> desligado
		lv_state = 0;
	}

	/* --- CONTROLO DO LED --- */
	switch (lv_state) {
	case 3: // Estático LIGADO
		lv_counter = 0;
		HAL_GPIO_WritePin(Led_LV_GPIO_Port, Led_LV_Pin, GPIO_PIN_SET);
		break;

	case 2: // Pisca lento
		if (lv_counter >= LV_BLINK_SLOW_TICKS) {
			lv_counter = 0;
			HAL_GPIO_TogglePin(Led_LV_GPIO_Port, Led_LV_Pin);
		}
		break;

	case 1: // Pisca rápido
		if (lv_counter >= LV_BLINK_FAST_TICKS) {
			lv_counter = 0;
			HAL_GPIO_TogglePin(Led_LV_GPIO_Port, Led_LV_Pin);
		}
		break;

	case 0: // Estático DESLIGADO
		lv_counter = 0;
		HAL_GPIO_WritePin(Led_LV_GPIO_Port, Led_LV_Pin, GPIO_PIN_RESET);
		break;
	}
}

void MeasureCurrent(uint16_t adc_value) {
	current_v = (float) adc_value * 3.3f / 4095.0f;
}

void SendData(void) {
	if (data_trigger >= 10) {
		data_trigger = 0;

		// UART — imprime float diretamente
		printf("LV_BAT (CAN): %.3f V | PA2 (Cur): %.3f V\r\n", isa_can_voltage_v, current_v);

		// CAN — envia como inteiro x1000 (ex: 3.009V → 3009)
		// Assim preservas 3 casas decimais sem float no CAN
		uint16_t can_voltage = (uint16_t) (isa_can_voltage_v * 1000.0f);  // ex: 3009
		uint16_t can_current = (uint16_t) (current_v * 1000.0f);  // ex: 3530

		TxData[0] = (can_voltage >> 8) & 0xFF;  // High byte
		TxData[1] = can_voltage & 0xFF;  // Low byte
		TxData[2] = (can_current >> 8) & 0xFF;
		TxData[3] = can_current & 0xFF;
		TxHeader.DLC = 4;

		if (HAL_CAN_GetTxMailboxesFreeLevel(&hcan) == 0) {
			HAL_CAN_AbortTxRequest(&hcan, CAN_TX_MAILBOX0);
			HAL_CAN_AbortTxRequest(&hcan, CAN_TX_MAILBOX1);
			HAL_CAN_AbortTxRequest(&hcan, CAN_TX_MAILBOX2);
			printf("WARNING: CAN congestionado.\r\n");
		}

		if (HAL_CAN_GetTxMailboxesFreeLevel(&hcan) > 0) {
			HAL_CAN_AddTxMessage(&hcan, &TxHeader, TxData, &TxMailbox);
			HAL_GPIO_TogglePin(GPIOC, Led_Debug_P15_Pin);
		} else {
			printf("CRITICAL ERROR: Falha CAN.\r\n");
		}
	}
}

void HeartbeatTask(void) {
	// Substitui o HAL_Delay de 5 segundos que trancava o Loop.
	// Pisca o LED da mesma forma, mas permitindo que a CAN e o ADC fluam
	if (heartbeat_counter >= 5) { // Ajuste este valor dependendo do tick rate do TIM3 para chegar a 5000ms ou 500ms
		heartbeat_counter = 0;
		HAL_GPIO_TogglePin(GPIOC, LED_Hearthbeat_Pin);
	}
}

/* USER CODE END 4 */

void Error_Handler(void) {
	/* USER CODE BEGIN Error_Handler_Debug */
	/* User can add his own implementation to report the HAL error return state */
	__disable_irq();
	while (1) {
	}	/* USER CODE END Error_Handler_Debug */
}
